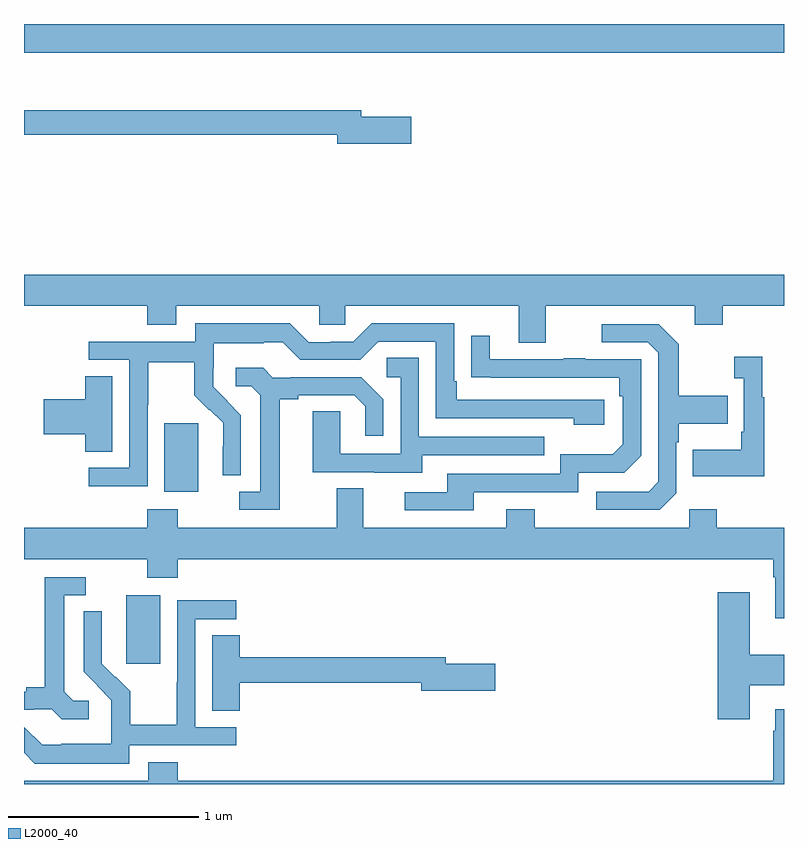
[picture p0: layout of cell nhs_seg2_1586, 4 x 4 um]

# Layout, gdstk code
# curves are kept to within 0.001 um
import gdstk
lib = gdstk.Library(unit=1e-6, precision=1e-09)
def R(c, l, rs):  # rectangles x0, y0, x1, y1
    for r in rs: c.add(gdstk.rectangle(r[:2], r[2:], *l))
def P(c, l, *ps):  # polygons
    for p in ps: c.add(gdstk.Polygon(p, *l))
L2000_40 = (2000, 40)

nhs_seg2_1586 = lib.new_cell('nhs_seg2_1586')
R(nhs_seg2_1586, L2000_40, [(193.538,632.433,193.717,632.794), (193.739,633.338,193.918,633.699), (193,635.648,197,635.8)])
P(nhs_seg2_1586, L2000_40, [(195.037,635.313),(194.776,635.313),(194.776,635.347),(193,635.347),(193,635.218),(194.648,635.218),(194.648,635.171),(195.037,635.171)],
  [(195.745,634.316),(196.529,634.316),(196.529,634.217),(196.677,634.217),(196.677,634.316),(197,634.316),(197,634.48),(193,634.48),(193,634.316),(193.649,634.316),(193.649,634.217),(193.801,634.217),(193.801,634.316),(194.553,634.316),(194.553,634.218),(194.691,634.218),(194.691,634.316),(195.605,634.316),(195.605,634.122),(195.745,634.122)],
  [(193.65,633.796),(193.653,633.796),(193.653,634.02),(193.897,634.02),(193.897,633.845),(193.974,633.768),(193.977,633.771),(194.048,633.701),(194.048,633.578),(194.046,633.578),(194.046,633.424),(194.142,633.424),(194.142,633.742),(193.996,633.89),(193.996,633.987),(193.998,633.987),(193.998,634.121),(194.261,634.121),(194.261,634.125),(194.361,634.125),(194.454,634.032),(194.769,634.032),(194.865,634.128),(195.168,634.128),(195.168,633.726),(195.893,633.726),(195.893,633.692),(196.054,633.692),(196.054,633.822),(195.277,633.822),(195.277,633.919),(195.264,633.919),(195.264,634.224),(194.829,634.224),(194.733,634.128),(194.615,634.128),(194.615,634.125),(194.499,634.125),(194.399,634.225),(193.902,634.225),(193.902,634.128),(193.341,634.128),(193.341,634.032),(193.554,634.032),(193.554,633.465),(193.341,633.465),(193.341,633.367),(193.65,633.367)],
  [(196.434,633.33),(196.434,633.599),(196.447,633.599),(196.447,633.695),(196.703,633.695),(196.703,633.843),(196.447,633.843),(196.447,634.115),(196.341,634.221),(196.041,634.221),(196.041,634.125),(196.284,634.125),(196.338,634.071),(196.338,633.39),(196.287,633.339),(196.011,633.339),(196.011,633.243),(196.347,633.243)],
  [(195.367,633.336),(195.918,633.336),(195.918,633.438),(196.158,633.438),(196.248,633.528),(196.248,634.035),(195.953,634.035),(195.953,634.04),(195.841,634.04),(195.841,634.035),(195.451,634.035),(195.451,634.159),(195.355,634.159),(195.355,633.94),(196.132,633.939),(196.132,633.842),(196.152,633.842),(196.152,633.588),(196.099,633.535),(195.822,633.535),(195.822,633.432),(195.227,633.432),(195.227,633.336),(195.003,633.336),(195.003,633.24),(195.367,633.24)],
  [(196.897,633.835),(196.885,633.835),(196.885,634.048),(196.737,634.048),(196.737,633.935),(196.788,633.935),(196.788,633.655),(196.776,633.655),(196.776,633.559),(196.519,633.559),(196.519,633.419),(196.897,633.419)],
  [(195.097,633.531),(195.737,633.531),(195.737,633.627),(195.078,633.627),(195.078,634.043),(194.91,634.043),(194.91,633.942),(194.982,633.942),(194.982,633.537),(194.664,633.537),(194.664,633.761),(194.519,633.761),(194.519,633.441),(194.843,633.441),(194.843,633.437),(195.097,633.437)],
  [(194.347,633.824),(194.443,633.824),(194.443,633.846),(194.738,633.846),(194.795,633.789),(194.795,633.633),(194.892,633.633),(194.892,633.826),(194.776,633.942),(194.404,633.942),(194.404,633.939),(194.31,633.939),(194.258,633.991),(194.115,633.991),(194.115,633.894),(194.196,633.894),(194.243,633.847),(194.243,633.339),(194.133,633.339),(194.133,633.243),(194.347,633.243)],
  [(193.465,633.947),(193.322,633.947),(193.322,633.824),(193.104,633.824),(193.104,633.641),(193.322,633.641),(193.322,633.55),(193.465,633.55)],
  [(197,633.148),(196.647,633.148),(196.647,633.247),(196.5,633.247),(196.5,633.148),(195.687,633.148),(195.687,633.247),(195.539,633.247),(195.539,633.148),(194.785,633.148),(194.785,633.356),(194.645,633.356),(194.645,633.148),(193.809,633.148),(193.809,633.247),(193.649,633.247),(193.649,633.148),(193,633.148),(193,632.984),(193.648,632.984),(193.648,632.885),(193.808,632.885),(193.808,632.984),(196.943,632.984),(196.943,632.888),(196.955,632.888),(196.955,632.673),(197,632.673)],
  [(193.342,632.238),(193.26,632.238),(193.213,632.285),(193.213,632.793),(193.324,632.793),(193.324,632.889),(193.109,632.889),(193.109,632.309),(193.013,632.309),(193.013,632.286),(193,632.286),(193,632.19),(193.052,632.19),(193.052,632.193),(193.146,632.193),(193.198,632.141),(193.342,632.141)],
  [(196.819,632.321),(197,632.321),(197,632.479),(196.819,632.479),(196.819,632.809),(196.652,632.809),(196.652,632.142),(196.819,632.142)],
  [(193.554,632.004),(194.116,632.004),(194.116,632.1),(193.902,632.1),(193.902,632.667),(194.116,632.667),(194.116,632.766),(193.806,632.766),(193.806,632.336),(193.804,632.336),(193.804,632.113),(193.559,632.113),(193.559,632.287),(193.482,632.364),(193.479,632.361),(193.409,632.432),(193.41,632.708),(193.314,632.708),(193.314,632.39),(193.46,632.242),(193.46,632.145),(193.458,632.145),(193.458,632.011),(193.195,632.011),(193.195,632.007),(193.095,632.007),(193.002,632.1),(193,632.1),(193,631.964),(193.057,631.907),(193.554,631.907)],
  [(194.135,632.332),(195.092,632.332),(195.092,632.29),(195.481,632.29),(195.481,632.432),(195.22,632.432),(195.22,632.468),(194.135,632.468),(194.135,632.582),(193.991,632.582),(193.991,632.185),(194.135,632.185)],
  [(197,632.194),(196.955,632.194),(196.955,632.081),(196.943,632.081),(196.943,631.816),(193.808,631.816),(193.808,631.915),(193.655,631.915),(193.655,631.816),(193,631.816),(193,631.8),(197,631.8)])

lib.write_gds('nhs_seg2_1586.gds')
